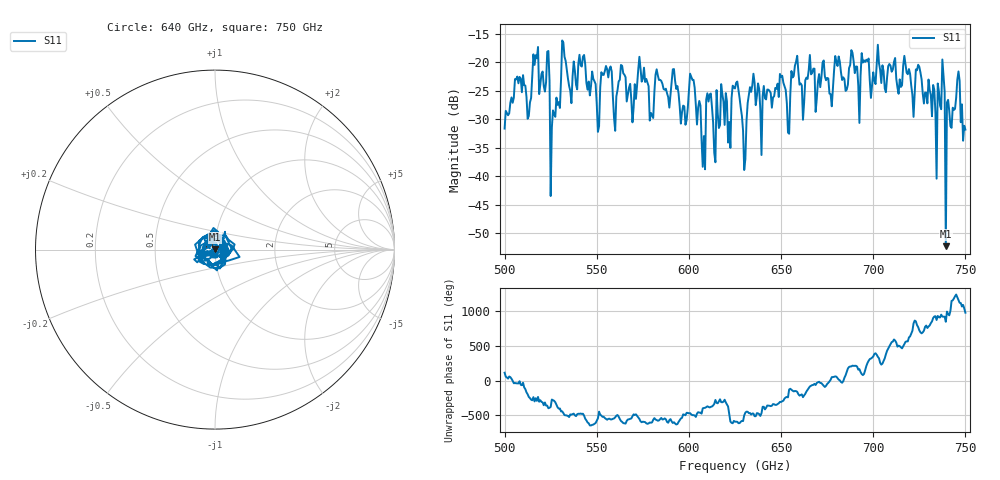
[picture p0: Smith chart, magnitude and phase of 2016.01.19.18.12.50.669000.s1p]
!Created with skrf (http://scikit-rf.org).
# GHz S RI R 50.0
!freq ReS11 ImS11
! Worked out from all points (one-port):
!   401 points, 500 GHz to 750 GHz, reference 50 ohm
!   lowest |S11| = -52.2 dB at 739.4 GHz (marker M1), VSWR 1.00, Z = 49.8 + j0.19 ohm
!   |S11| at or under -10 dB: start of sweep to end of sweep
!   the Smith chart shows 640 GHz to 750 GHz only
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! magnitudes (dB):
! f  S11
! 500 GHz  -31.6
! 506.9 GHz  -22.5
! 513.1 GHz  -29.4
! 516.9 GHz  -18.7
! 523.1 GHz  -18.1
! 526.2 GHz  -28.4
! 531.2 GHz  -16.1
! 541.9 GHz  -20.7
! 550.6 GHz  -32.2
! 562.5 GHz  -23.0
! 593.8 GHz  -24.1
! 598.1 GHz  -30.9
! 601.9 GHz  -23.0
! 607.5 GHz  -38.3
! 610.6 GHz  -26.9
! 615 GHz  -24.9
! 625 GHz  -24.6
! 630 GHz  -38.9
! 634.4 GHz  -24.0
! 653.8 GHz  -32.3
! 656.2 GHz  -22.6
! 687.5 GHz  -20.5
! 718.8 GHz  -22.1
! 733.1 GHz  -24.8
! 737.5 GHz  -19.5
! 739.4 GHz  -52.2
! 745.6 GHz  -23.0
! 750 GHz  -31.8
